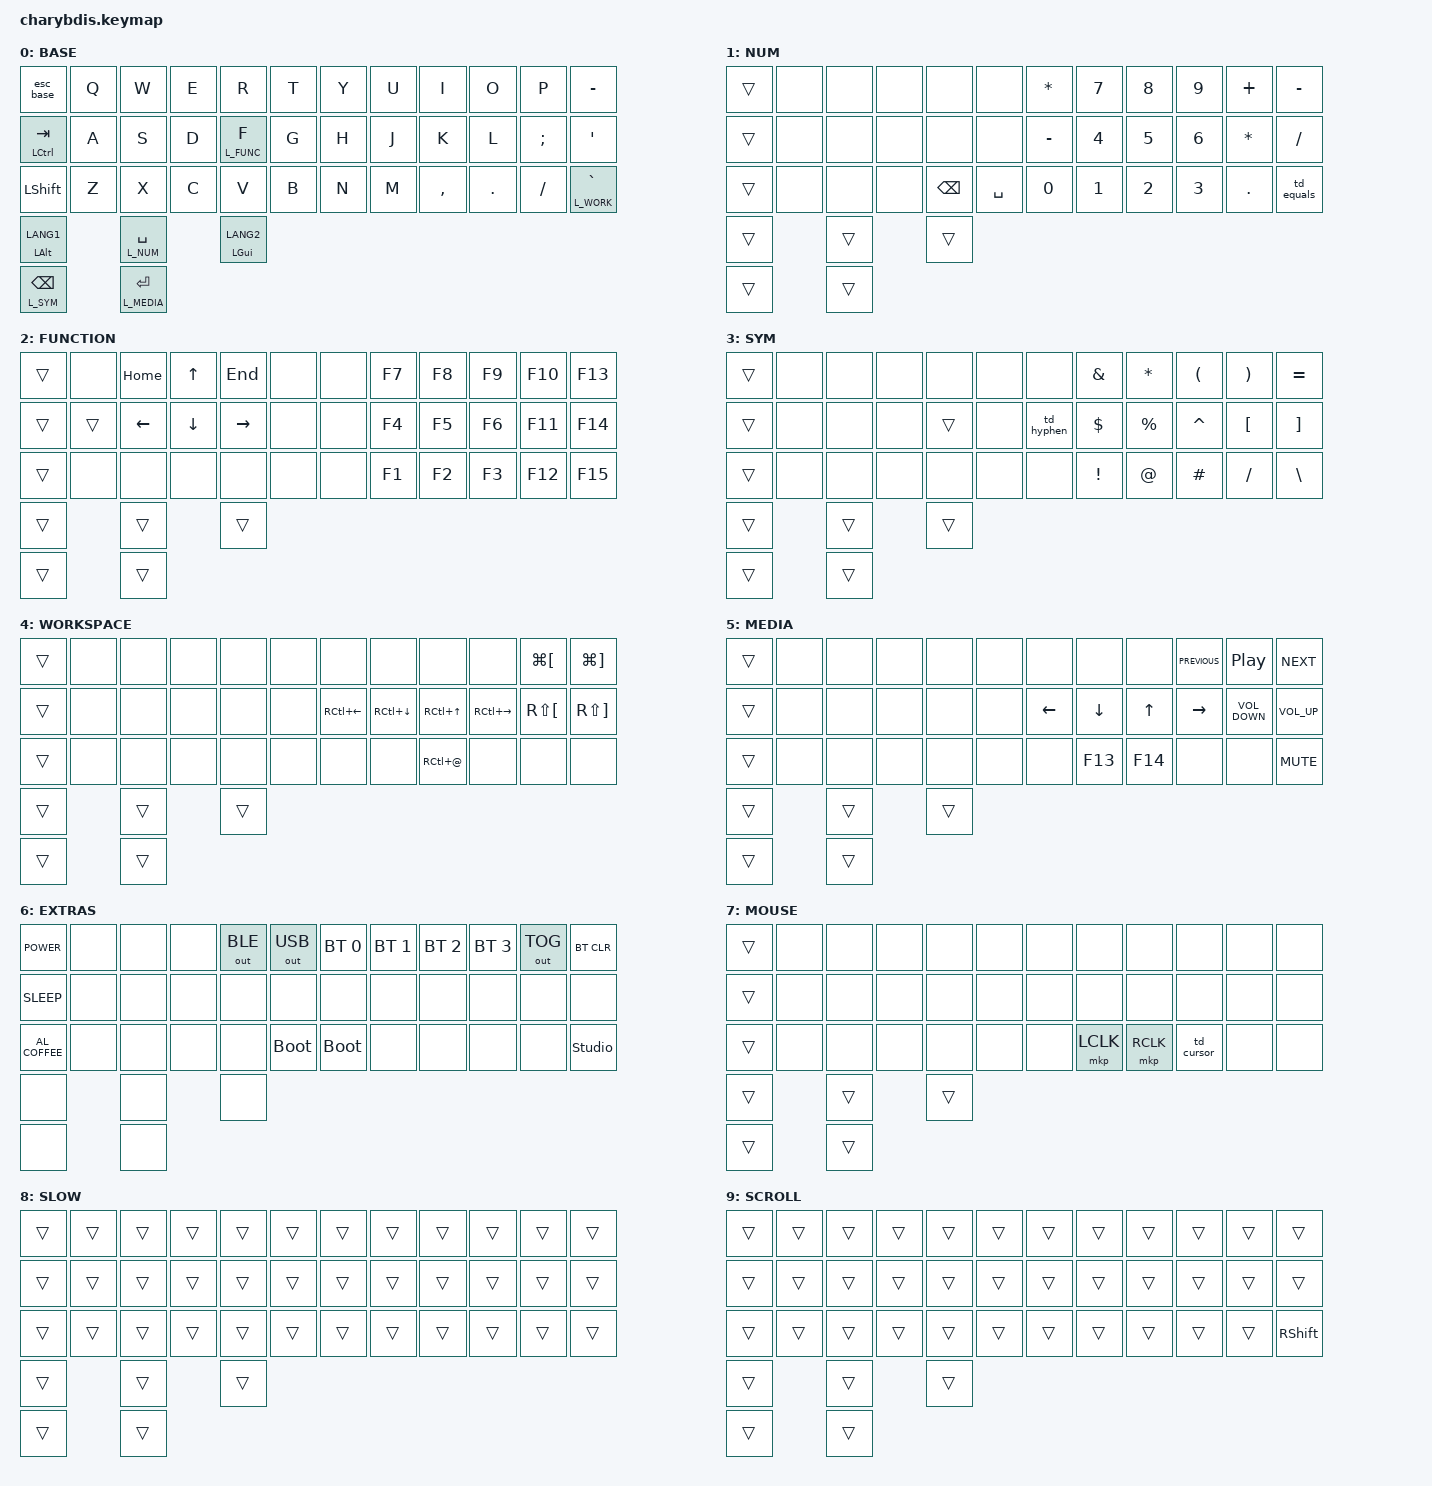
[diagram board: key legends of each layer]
#include <dt-bindings/zmk/mouse.h>
#include <behaviors/mouse_keys.dtsi>
#include <behaviors.dtsi>
#include <dt-bindings/zmk/bt.h>
#include <dt-bindings/zmk/keys.h>
#include <dt-bindings/zmk/outputs.h>
#include <dt-bindings/zmk/pointing.h>
#include <dt-bindings/zmk/input_transform.h>
#include <input/processors.dtsi>

#define L_BASE      0
#define L_NUM       1
#define L_FUNC      2
#define L_SYM       3
#define L_WORK      4
#define L_MEDIA     5
#define L_EXTRAS    6
#define L_MOUSE     7
#define L_SLOW      8
#define L_SCROLL    9

#define D_KANA      LANG1
#define D_EN        LANG2


/*-------------------------------------------------------
* combos
-------------------------------------------------------*/
/ {
    combos {
        compatible = "zmk,combos";
        // g+hでCapsLock
        CapsWord {
            bindings = <&caps_word>;
            key-positions = <17 18>;
            layers = <L_BASE>;
        };

        // m+,でMiddleClic
        MiddleClick {
            bindings = <&mkp MCLK>;
            key-positions = <31 32>;
            layers = <L_MOUSE>;
        };
    };
};

/*-------------------------------------------------------
* macros
-------------------------------------------------------*/
/* " SPACE + 任意キー + SPACE " を作る共通マクロ */
#define WRAP_SYMBOL_MACRO(name, symbol_key) \
    name: name { \
        compatible = "zmk,behavior-macro"; \
        #binding-cells = <0>; \
        bindings = \
            <&macro_tap>, <&kp SPACE>, \
            <&macro_tap>, <&kp symbol_key>, \
            <&macro_tap>, <&kp SPACE>; \
    };

/* 括弧系を量産する共通マクロ: "()" */
#define WRAP_PAIR_MACRO(name, left_key, right_key) \
    name: name { \
        compatible = "zmk,behavior-macro"; \
        #binding-cells = <0>; \
        bindings = \
            <&macro_tap>, <&kp left_key>, \
            <&macro_tap>, <&kp right_key>, \
            <&macro_tap>, <&kp LEFT_ARROW>; \
    };

/ {
    macros {
        // バッククォート入力補助: `` + 左矢印（Markdownコードブロック用）
        grave_macro: grave_macro {
            compatible = "zmk,behavior-macro";
            #binding-cells = <0>;
            bindings =
                <&macro_tap>,
                <&kp GRAVE>,
                <&macro_tap>,
                <&kp GRAVE>,
                <&macro_tap>,
                <&kp LEFT_ARROW>;
        };

        WRAP_SYMBOL_MACRO(minus_macro,  MINUS) // " - "
        WRAP_SYMBOL_MACRO(equals_macro, EQUAL) // " = "
        WRAP_SYMBOL_MACRO(plus_macro,   PLUS)  // " + "
        WRAP_SYMBOL_MACRO(plus_colon,   COLON) // " : "

        WRAP_PAIR_MACRO(paren_pad_macro, LEFT_PARENTHESIS, RIGHT_PARENTHESIS) // ()
        WRAP_PAIR_MACRO(bracket_macro,   LEFT_BRACKET,     RIGHT_BRACKET)     // []
        WRAP_PAIR_MACRO(brace_macro,     LEFT_BRACE,       RIGHT_BRACE)       // {}
        WRAP_PAIR_MACRO(brace_sqt,       APOSTROPHE,       APOSTROPHE)        // ''
        WRAP_PAIR_MACRO(brace_dqt,       DQT,              DQT)               // ""

        // ホームディレクトリパス: "~/"（ファイルパス入力用）
        home_macro: home_macro {
            compatible = "zmk,behavior-macro";
            #binding-cells = <0>;
            bindings = <&macro_tap>, <&kp TILDE>, <&macro_tap>, <&kp FSLH>;
        };
    };
};

/*-------------------------------------------------------
* behaviors
-------------------------------------------------------*/

/ {
    behaviors {
        // シングルタップとダブルタップを設定
        #define TAP_DANCE(name, single_tap, double_tap) \
            name: name { \
                compatible = "zmk,behavior-tap-dance"; \
                #binding-cells = <0>; \
                tapping-term-ms = <300>; \
                bindings = single_tap, double_tap; \
            }

        // ホームローモッド（基本）: キーを押し続けると修飾キー、タップすると通常キー
        hm: homerow_mod {
            compatible = "zmk,behavior-hold-tap";
            #binding-cells = <2>;
            flavor = "tap-preferred"; // 
            tapping-term-ms = <120>; // この時間以上押し続けると修飾キーとして動作
            quick-tap-ms = <150>; // この時間内に再度タップすると常に通常キーとして動作
            require-prior-idle-ms = <185>; // 前のキーからこの時間以上経過している必要がある
            bindings = <&kp>, <&kp>;

            // hold, tap
        };

        // 右側ホームローモッド: 右側のキーに特化した設定
        // hm_right: homerow_mod_right {
        //     compatible = "zmk,behavior-hold-tap";
        //     #binding-cells = <2>;
        //     flavor = "tap-preferred";
        //     tapping-term-ms = <130>;
        //     // quick-tap-ms = <200>;
        //     // require-prior-idle-ms = <150>;
        //     bindings = <&kp>, <&kp>;
        //     hold-trigger-key-positions = <0 1 2 3 4 5 12 13 14 15 16 17 24 25 26 27 28 29 36 37 38>;
        // };

        // 左側ホームローモッド: 左側のキーに特化した設定
        // hm_left: homerow_mod_left {
        //     compatible = "zmk,behavior-hold-tap";
        //     #binding-cells = <2>;
        //     flavor = "tap-preferred";
        //     tapping-term-ms = <130>;
        //     // quick-tap-ms = <200>;
        //     // require-prior-idle-ms = <150>;
        //     bindings = <&kp>, <&kp>;
        //     hold-trigger-key-positions = <6 7 8 9 10 11 18 19 20 21 22 23 30 31 32 33 34 35 39 40>;
        // };

        // 2レイヤー切り替え: ホールドでモーメンタリ、タップでトグル
        httl: ht_two_layers {
            compatible = "zmk,behavior-hold-tap";
            bindings = <&mo>, <&to>;
            #binding-cells = <2>;
            flavor = "balanced";
            tapping-term-ms = <125>;
        };

        // スクロール/カーソル切り替え: タップでESC、ホールドでレイヤー9
        td_cursor: td_scroll_or_cursor {
            compatible = "zmk,behavior-tap-dance";
            #binding-cells = <0>;
            tapping-term-ms = <200>;
            bindings = <&mo 9>, <&mo 8>;
            // hold, tap, double_tap
        };

        // ベース/エクストラ切り替え: タップでレイヤー6、ダブルタップでレイヤー0
        td_bore: BASE_or_EXTRA {
            compatible = "zmk,behavior-tap-dance";
            #binding-cells = <0>;
            bindings = <&mo 6>, <&to 0>;
        };

        /*-------------------------------------------------------
        * 記号入力補助 
        -------------------------------------------------------*/
        // バッククォート拡張: タップでバッククォート、ダブルタップでマクロ
        td_grave: DoubleTap_Grave {
            compatible = "zmk,behavior-tap-dance";
            #binding-cells = <0>;
            bindings = <&kp GRAVE>, <&grave_macro>;
        };

        // ハイフン拡張: タップでハイフン、ダブルタップでスペース付きハイフン
        td_hyphen: DoubleTap_Hyphen {
            compatible = "zmk,behavior-tap-dance";
            #binding-cells = <0>;
            bindings = <&kp MINUS>, <&minus_macro>;
        };

        // イコール拡張: タップでイコール、ダブルタップでスペース付きイコール
        td_equals: DoubleTap_Equals {
            compatible = "zmk,behavior-tap-dance";
            #binding-cells = <0>;
            bindings = <&kp EQUAL>, <&equals_macro>;
        };

        // スラッシュ拡張: タップでスラッシュ、ダブルタップでホームディレクトリパス
        td_home: DoubleTap_Home {
            compatible = "zmk,behavior-tap-dance";
            #binding-cells = <0>;
            bindings = <&kp FSLH>, <&home_macro>;
        };

        /*-------------------------------------------------------
        * tap-dance
        -------------------------------------------------------*/
        TAP_DANCE(td_minus,<&kp MINUS>,<&minus_macro>); 
        TAP_DANCE(td_equal, <&kp EQUAL>,<&equals_macro>);
        TAP_DANCE(td_plus,  <&kp PLUS>,  <&plus_macro>);
        TAP_DANCE(td_colon, <&kp COLON>,<&plus_colon>);

        TAP_DANCE(td_paren_pad, <&kp LEFT_PARENTHESIS>, <&paren_pad_macro>);
        TAP_DANCE(td_bracket,   <&kp LEFT_BRACKET>,     <&bracket_macro>);
        TAP_DANCE(td_brace,     <&kp LEFT_BRACE>,       <&brace_macro>);
        TAP_DANCE(td_sqt,       <&kp APOSTROPHE>,       <&brace_sqt>);
        TAP_DANCE(td_dqt,       <&kp DQT>,              <&brace_dqt>);

        TAP_DANCE(esc_base,   <&lt L_EXTRAS ESC>,      <&httl L_EXTRAS L_EXTRAS>); //ESC       L_EXTRAS Toggle EXTRA  EXTRA
        TAP_DANCE(slh_cursor, <&lt L_MOUSE FSLH>,      <&httl L_MOUSE L_MOUSE>);   //FSLH      L_MOUSE  Toggle MOUSE MOUSE
        TAP_DANCE(bs_sym_num, <&lt L_NUM   BACKSPACE>, <&mo   L_SYM>);             //BACKSPACE L_NUM    2tap-hold SYM


    };
};

/*-------------------------------------------------------
* input config
-------------------------------------------------------*/

/ {
    /* マウスの速度設定 Layer 0, 2, 7 */
    trackball_listener {
        compatible = "zmk,input-behavior-listener";
        device = <&trackball>;
        layers = <0 2 7>;
        evt-type = <INPUT_EV_REL>;
        x-input-code = <INPUT_REL_X>;
        y-input-code = <INPUT_REL_Y>;

        // マウスの速度設定 multiplier/divisor
        scale-multiplier = <1>;
        scale-divisor = <5>;
    };

    /* マウスを遅くするモード Layer 8（加速度無効） */
    trackball_snipe_listener {
        compatible = "zmk,input-behavior-listener";
        device = <&trackball>;
        layers = <8>;
        evt-type = <INPUT_EV_REL>;
        x-input-code = <INPUT_REL_X>;
        y-input-code = <INPUT_REL_Y>;

        // マウスの速度設定 multiplier/divisor（精密操作用）
        scale-multiplier = <1>;
        scale-divisor = <10>;
    };

    /* Input Processorを使用したオートマウスレイヤー */
    /* 非マウスキーを押したらタイムアウトに関係なくマウスレイヤーを抜ける */
    /omit-if-no-ref/ zip_temp_layer: zip_temp_layer {
        compatible = "zmk,input-processor-temp-layer";
        #input-processor-cells = <2>;
        excluded-positions = <
               31 32 33
            12 24 39 /*ctrl, shift, backspace*/ 
        >;
    };

    /* トラックボール移動時に自動でマウスレイヤーに切り替え */
    trackball_auto_mouse {
        compatible = "zmk,input-listener";
        device = <&trackball>;
        input-processors = <&zip_temp_layer 7 5000>; // レイヤー7（MOUSE）に5秒間切り替え
    };

    /*-----------------------------------------------------------
    * マウス スクロールモード Layer 9
    -----------------------------------------------------------*/
    /* マウス スクロールモード Layer 9（通常は縦スクロール、Shift押下で横スクロール） */
    trackball_scroll_listener {
        compatible = "zmk,input-behavior-listener";
        device = <&trackball>;
        layers = <9>;
        evt-type = <INPUT_EV_REL>;
        x-input-code = <INPUT_REL_MISC>;  // 横スクロール
        y-input-code = <INPUT_REL_WHEEL>; // 縦スクロール
        x-invert;                         // 横スクロールの方向を反転
        bindings = <&ib_wheel_scaler 1 12>; // スクロールの解像度を調整
    };

    /* define a resolution down scaler only for INPUT_REL_WHEEL */
    /* マウススクロールモード */
    ib_wheel_scaler: ib_wheel_scaler {
        compatible = "zmk,input-behavior-scaler";
        #binding-cells = <2>;
        evt-type = <INPUT_EV_REL>;
        /* input-code を指定しない、または両方に対応させる設定を確認してください */
        input-code = <INPUT_REL_WHEEL>;
    };

    /* adjust cooldown waiting period for mouse key layer after activated */
    /* マウスキーのレイヤー切り替え */
    ib_toggle_layer: ib_toggle_layer {
        compatible = "zmk,input-behavior-tog-layer";
        #binding-cells = <1>;
        time-to-live-ms = <750>;
    };

    // ╭──────┬──────┬──────┬──────┬──────┬──────╮  ╭──────┬──────┬──────┬──────┬──────┬──────╮
    //    00     01     02     03    04      05        06     07     08     09     10     11
    // ├──────┼──────┼──────┼──────┼──────┼──────┤  ├──────┼──────┼──────┼──────┼──────┼──────┤
    //    12     13     14     15    16      17        18     19     20     21     22     23
    // ├──────┼──────┼──────┼──────┼──────┼──────┤  ├──────┼──────┼──────┼──────┼──────┼──────┤
    //    24     25     26     27    28      29        30     31     32     33     34     35
    // ╰──────┴──────┴──────┼──────┼──────┼──────┤  ├──────┼──────┼──────┴──────┴──────┴──────╯
    //                         36     37     38        39     40
    //                      ╰──────┴──────┴──────╯  ╰──────┴──────╯

    keymap {
        compatible = "zmk,keymap";

        BASE {
            bindings = <
              &esc_base      &kp Q  &kp W  &kp E  &kp R          &kp T       &kp Y  &kp U  &kp I      &kp O       &kp P          &kp MINUS
              &hm LCTRL TAB  &kp A  &kp S  &kp D  &lt L_FUNC F   &kp G       &kp H  &kp J  &kp K      &kp L       &kp SEMICOLON  &kp APOSTROPHE
              &kp LEFT_SHIFT &kp Z  &kp X  &kp C  &kp V          &kp B       &kp N  &kp M  &kp COMMA  &kp PERIOD  &kp FSLH       &lt L_WORK GRAVE

              &hm LALT  D_KANA     &lt L_NUM SPACE    &hm LGUI D_EN 
              &lt L_SYM BACKSPACE  &lt L_MEDIA ENTER 
            >;
        };

        NUM {
            bindings = <
              &trans  &none  &none  &none   &none          &none        &kp ASTRK    &kp NUMBER_7  &kp NUMBER_8  &kp NUMBER_9  &kp PLUS   &kp MINUS
              &trans  &none  &none  &none   &none          &none        &kp MINUS    &kp NUMBER_4  &kp NUMBER_5  &kp NUMBER_6  &kp ASTRK  &kp SLASH
              &trans  &none  &none  &none   &kp BACKSPACE  &kp SPACE    &kp NUMBER_0 &kp NUMBER_1  &kp NUMBER_2  &kp NUMBER_3  &kp DOT    &td_equals
              
              &trans  &trans  &trans
              &trans  &trans
            >;
        };

        FUNCTION {
            bindings = <
              &trans  &none   &kp HOME  &kp UP_ARROW    &kp END    &none     &none   &kp F7  &kp F8  &kp F9  &kp F10  &kp F13
              &trans  &trans  &kp LEFT  &kp DOWN_ARROW  &kp RIGHT  &none     &none   &kp F4  &kp F5  &kp F6  &kp F11  &kp F14
              &trans  &none   &none     &none           &none      &none     &none   &kp F1  &kp F2  &kp F3  &kp F12  &kp F15
                                                                                                                             
              &trans  &trans  &trans 
              &trans  &trans
            >;
        };

        SYM {
            bindings = <
              &trans  &none  &none  &none   &none   &none     &none       &kp AMPS    &kp ASTERISK  &kp LEFT_PARENTHESIS  &kp RIGHT_PARENTHESIS  &kp EQUAL
              &trans  &none  &none  &none   &trans  &none     &td_hyphen  &kp DOLLAR  &kp PERCENT   &kp CARET             &kp LEFT_BRACKET       &kp RIGHT_BRACKET
              &trans  &none  &none  &none   &none   &none     &none       &kp EXCL    &kp AT        &kp HASH              &kp SLASH              &kp BSLH

              &trans  &trans  &trans 
              &trans  &trans
            >;
        };

        WORKSPACE {
            bindings = <
              &trans  &none  &none  &none  &none  &none     &none         &none        &none      &none          &kp LG(LEFT_BRACKET) &kp LG(RIGHT_BRACKET)
              &trans  &none  &none  &none  &none  &none     &kp RC(LEFT)  &kp RC(DOWN) &kp RC(UP) &kp RC(RIGHT)  &kp RS(LEFT_BRACKET) &kp RS(RIGHT_BRACKET)
              &trans  &none  &none  &none  &none  &none     &none         &none        &kp RC(AT) &none          &none                &none
              
              &trans  &trans  &trans 
              &trans  &trans
            >;
        };

        MEDIA {
            bindings = <
              &trans  &none  &none  &none  &none  &none     &none     &none     &none    &kp C_PREVIOUS  &kp C_PLAY_PAUSE  &kp C_NEXT
              &trans  &none  &none  &none  &none  &none     &kp LEFT  &kp DOWN  &kp UP   &kp RIGHT       &kp C_VOLUME_DOWN  &kp C_VOLUME_UP
              &trans  &none  &none  &none  &none  &none     &none     &kp F13   &kp F14  &none           &none              &kp K_MUTE

              &trans  &trans  &trans 
              &trans  &trans
            >;
        };

        EXTRAS {
            bindings = <
              &kp C_POWER      &none  &none  &none  &out OUT_BLE  &out OUT_USB    &bt BT_SEL 0  &bt BT_SEL 1  &bt BT_SEL 2  &bt BT_SEL 3  &out OUT_TOG  &bt BT_CLR
              &kp C_SLEEP      &none  &none  &none  &none         &none           &none         &none         &none         &none         &none         &none
              &kp C_AL_COFFEE  &none  &none  &none  &none         &bootloader     &bootloader   &none         &none         &none         &none         &studio_unlock
              &none  &none  &none
              &none  &none
            >;
        };

        MOUSE {
            bindings = <
              &trans  &none   &none  &none  &none  &none        &none   &none      &none      &none       &none  &none
              &trans  &none   &none  &none  &none  &none        &none   &none      &none      &none       &none  &none
              &trans  &none   &none  &none  &none  &none        &none   &mkp LCLK  &mkp RCLK  &td_cursor  &none  &none
              
              &trans  &trans  &trans 
              &trans  &trans
            >;
        };

        SLOW {
            bindings = <
              &trans  &trans  &trans  &trans  &trans  &trans    &trans  &trans  &trans  &trans  &trans  &trans
              &trans  &trans  &trans  &trans  &trans  &trans    &trans  &trans  &trans  &trans  &trans  &trans
              &trans  &trans  &trans  &trans  &trans  &trans    &trans  &trans  &trans  &trans  &trans  &trans
              
              &trans  &trans  &trans 
              &trans  &trans
            >;
        };

        SCROLL {
            bindings = <
              &trans  &trans  &trans  &trans  &trans  &trans    &trans  &trans  &trans  &trans  &trans  &trans
              &trans  &trans  &trans  &trans  &trans  &trans    &trans  &trans  &trans  &trans  &trans  &trans
              &trans  &trans  &trans  &trans  &trans  &trans    &trans  &trans  &trans  &trans  &trans  &kp RIGHT_SHIFT
              
              &trans  &trans  &trans 
              &trans  &trans
            >;
        };
    };
};
